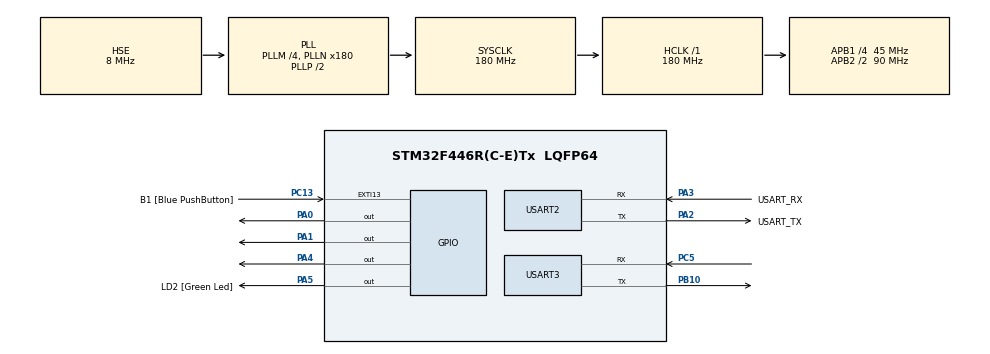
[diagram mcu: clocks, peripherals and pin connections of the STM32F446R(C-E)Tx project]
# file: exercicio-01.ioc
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FREERTOS.CountingSemaphores01=SemCount,2,Dynamic,NULL,2
FREERTOS.Tasks01=Task01,32,128,StartTask01,Default,NULL,Dynamic,NULL,NULL;Task02,24,128,StartTask02,Default,NULL,Dynamic,NULL,NULL;Task03,16,128,StartTask03,Default,NULL,Dynamic,NULL,NULL
FREERTOS.configUSE_NEWLIB_REENTRANT=1
Mcu.Family=STM32F4
Mcu.Name=STM32F446R(C-E)Tx
Mcu.Package=LQFP64
NVIC.PriorityGroup=NVIC_PRIORITYGROUP_4
NVIC.TIM2_IRQn=true\:15\:0\:false\:false\:true\:false\:false\:true\:true
NVIC.TimeBase=TIM2_IRQn
NVIC.TimeBaseIP=TIM2
PA0-WKUP.Signal=GPIO_Output
PA1.Signal=GPIO_Output
PA13.GPIO_Label=TMS
PA13.Mode=Serial_Wire
PA13.Signal=SYS_JTMS-SWDIO
PA14.GPIO_Label=TCK
PA14.Mode=Serial_Wire
PA14.Signal=SYS_JTCK-SWCLK
PA2.GPIO_Label=USART_TX
PA2.Mode=Asynchronous
PA2.Signal=USART2_TX
PA3.GPIO_Label=USART_RX
PA3.Mode=Asynchronous
PA3.Signal=USART2_RX
PA4.Signal=GPIO_Output
PA5.GPIO_Label=LD2 [Green Led]
PA5.Signal=GPIO_Output
PB10.Mode=Asynchronous
PB10.Signal=USART3_TX
PB3.GPIO_Label=SWO
PB3.Signal=SYS_JTDO-SWO
PC13.GPIO_Label=B1 [Blue PushButton]
PC13.GPIO_ModeDefaultEXTI=GPIO_MODE_IT_FALLING
PC13.Signal=GPXTI13
PC14-OSC32_IN.Mode=LSE-External-Oscillator
PC14-OSC32_IN.Signal=RCC_OSC32_IN
PC15-OSC32_OUT.Mode=LSE-External-Oscillator
PC15-OSC32_OUT.Signal=RCC_OSC32_OUT
PC5.Mode=Asynchronous
PC5.Signal=USART3_RX
PH0-OSC_IN.Mode=HSE-External-Oscillator
PH0-OSC_IN.Signal=RCC_OSC_IN
PH1-OSC_OUT.Mode=HSE-External-Oscillator
PH1-OSC_OUT.Signal=RCC_OSC_OUT
ProjectManager.HeapSize=0x200
ProjectManager.StackSize=0x400
ProjectManager.TargetToolchain=STM32CubeIDE
RCC.48MHZClocksFreq_Value=84000000
RCC.AHBFreq_Value=180000000
RCC.APB1CLKDivider=RCC_HCLK_DIV4
RCC.APB1Freq_Value=45000000
RCC.APB1TimFreq_Value=90000000
RCC.APB2CLKDivider=RCC_HCLK_DIV2
RCC.APB2Freq_Value=90000000
RCC.APB2TimFreq_Value=180000000
RCC.CortexFreq_Value=180000000
RCC.FLatency-AdvancedSettings=FLASH_LATENCY_5
RCC.HCLKFreq_Value=180000000
RCC.HSE_VALUE=8000000
RCC.HSI_VALUE=16000000
RCC.PLLM=4
RCC.PLLN=180
RCC.PLLSourceVirtual=RCC_PLLSOURCE_HSE
RCC.SYSCLKFreq_VALUE=180000000
RCC.SYSCLKSource=RCC_SYSCLKSOURCE_PLLCLK
RCC.USBFreq_Value=180000000
RCC.VCOOutputFreq_Value=360000000
USART2.VirtualMode=VM_ASYNC
USART3.VirtualMode=VM_ASYNC
VP_FREERTOS_VS_CMSIS_V2.Mode=CMSIS_V2
VP_SYS_VS_tim2.Mode=TIM2
board=NUCLEO-F446RE

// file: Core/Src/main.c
/* USER CODE BEGIN Header */
/**
 ******************************************************************************
 * @file           : main.c
 * @brief          : Main program body
 ******************************************************************************
 * @attention
 *
 * Copyright (c) 2025 STMicroelectronics.
 * All rights reserved.
 *
 * This software is licensed under terms that can be found in the LICENSE file
 * in the root directory of this software component.
 * If no LICENSE file comes with this software, it is provided AS-IS.
 *
 ******************************************************************************
 */
/* USER CODE END Header */
#include "main.h"
#include "cmsis_os.h"

/* USER CODE BEGIN Includes */
#include <stdio.h>
#include <string.h>
/* USER CODE END Includes */

UART_HandleTypeDef huart2;
UART_HandleTypeDef huart3;

/* Definitions for Task01 */
osThreadId_t Task01Handle;
const osThreadAttr_t Task01_attributes = {
  .name = "Task01",
  .stack_size = 128 * 4,
  .priority = (osPriority_t) osPriorityAboveNormal,
};
/* Definitions for Task02 */
osThreadId_t Task02Handle;
const osThreadAttr_t Task02_attributes = {
  .name = "Task02",
  .stack_size = 128 * 4,
  .priority = (osPriority_t) osPriorityNormal,
};
/* Definitions for Task03 */
osThreadId_t Task03Handle;
const osThreadAttr_t Task03_attributes = {
  .name = "Task03",
  .stack_size = 128 * 4,
  .priority = (osPriority_t) osPriorityBelowNormal,
};
/* Definitions for SemCount */
osSemaphoreId_t SemCountHandle;
const osSemaphoreAttr_t SemCount_attributes = {
  .name = "SemCount"
};
/* USER CODE BEGIN PV */
int val_sem = 0;
char buffer[50];
/* USER CODE END PV */

void SystemClock_Config(void);
static void MX_GPIO_Init(void);
static void MX_USART2_UART_Init(void);
static void MX_USART3_UART_Init(void);
void StartTask01(void *argument);
void StartTask02(void *argument);
void StartTask03(void *argument);

int main(void)
{

  /* MCU Configuration--------------------------------------------------------*/

  /* Reset of all peripherals, Initializes the Flash interface and the Systick. */
  HAL_Init();

  /* Configure the system clock */
  SystemClock_Config();

  /* Initialize all configured peripherals */
  MX_GPIO_Init();
  MX_USART2_UART_Init();
  MX_USART3_UART_Init();

  /* Init scheduler */
  osKernelInitialize();

  /* Create the semaphores(s) */
  /* creation of SemCount */
  SemCountHandle = osSemaphoreNew(2, 2, &SemCount_attributes);

  /* Create the thread(s) */
  /* creation of Task01 */
  Task01Handle = osThreadNew(StartTask01, NULL, &Task01_attributes);

  /* creation of Task02 */
  Task02Handle = osThreadNew(StartTask02, NULL, &Task02_attributes);

  /* creation of Task03 */
  Task03Handle = osThreadNew(StartTask03, NULL, &Task03_attributes);

  /* Start scheduler */
  osKernelStart();

  /* We should never get here as control is now taken by the scheduler */

  /* Infinite loop */
	while (1) {

	}
}

void SystemClock_Config(void)
{
  RCC_OscInitTypeDef RCC_OscInitStruct = {0};
  RCC_ClkInitTypeDef RCC_ClkInitStruct = {0};

  /** Configure the main internal regulator output voltage
  */
  __HAL_RCC_PWR_CLK_ENABLE();
  __HAL_PWR_VOLTAGESCALING_CONFIG(PWR_REGULATOR_VOLTAGE_SCALE1);

  /** Initializes the RCC Oscillators according to the specified parameters
  * in the RCC_OscInitTypeDef structure.
  */
  RCC_OscInitStruct.OscillatorType = RCC_OSCILLATORTYPE_HSE;
  RCC_OscInitStruct.HSEState = RCC_HSE_ON;
  RCC_OscInitStruct.PLL.PLLState = RCC_PLL_ON;
  RCC_OscInitStruct.PLL.PLLSource = RCC_PLLSOURCE_HSE;
  RCC_OscInitStruct.PLL.PLLM = 4;
  RCC_OscInitStruct.PLL.PLLN = 180;
  RCC_OscInitStruct.PLL.PLLP = RCC_PLLP_DIV2;
  RCC_OscInitStruct.PLL.PLLQ = 2;
  RCC_OscInitStruct.PLL.PLLR = 2;
  if (HAL_RCC_OscConfig(&RCC_OscInitStruct) != HAL_OK)
  {
    Error_Handler();
  }

  /** Activate the Over-Drive mode
  */
  if (HAL_PWREx_EnableOverDrive() != HAL_OK)
  {
    Error_Handler();
  }

  /** Initializes the CPU, AHB and APB buses clocks
  */
  RCC_ClkInitStruct.ClockType = RCC_CLOCKTYPE_HCLK|RCC_CLOCKTYPE_SYSCLK
                              |RCC_CLOCKTYPE_PCLK1|RCC_CLOCKTYPE_PCLK2;
  RCC_ClkInitStruct.SYSCLKSource = RCC_SYSCLKSOURCE_PLLCLK;
  RCC_ClkInitStruct.AHBCLKDivider = RCC_SYSCLK_DIV1;
  RCC_ClkInitStruct.APB1CLKDivider = RCC_HCLK_DIV4;
  RCC_ClkInitStruct.APB2CLKDivider = RCC_HCLK_DIV2;

  if (HAL_RCC_ClockConfig(&RCC_ClkInitStruct, FLASH_LATENCY_5) != HAL_OK)
  {
    Error_Handler();
  }
}

static void MX_USART2_UART_Init(void)
{

  huart2.Instance = USART2;
  huart2.Init.BaudRate = 115200;
  huart2.Init.WordLength = UART_WORDLENGTH_8B;
  huart2.Init.StopBits = UART_STOPBITS_1;
  huart2.Init.Parity = UART_PARITY_NONE;
  huart2.Init.Mode = UART_MODE_TX_RX;
  huart2.Init.HwFlowCtl = UART_HWCONTROL_NONE;
  huart2.Init.OverSampling = UART_OVERSAMPLING_16;
  if (HAL_UART_Init(&huart2) != HAL_OK)
  {
    Error_Handler();
  }

}

static void MX_USART3_UART_Init(void)
{

  huart3.Instance = USART3;
  huart3.Init.BaudRate = 115200;
  huart3.Init.WordLength = UART_WORDLENGTH_8B;
  huart3.Init.StopBits = UART_STOPBITS_1;
  huart3.Init.Parity = UART_PARITY_NONE;
  huart3.Init.Mode = UART_MODE_TX_RX;
  huart3.Init.HwFlowCtl = UART_HWCONTROL_NONE;
  huart3.Init.OverSampling = UART_OVERSAMPLING_16;
  if (HAL_UART_Init(&huart3) != HAL_OK)
  {
    Error_Handler();
  }

}

static void MX_GPIO_Init(void)
{
  GPIO_InitTypeDef GPIO_InitStruct = {0};

  /* GPIO Ports Clock Enable */
  __HAL_RCC_GPIOC_CLK_ENABLE();
  __HAL_RCC_GPIOH_CLK_ENABLE();
  __HAL_RCC_GPIOA_CLK_ENABLE();
  __HAL_RCC_GPIOB_CLK_ENABLE();

  /*Configure GPIO pin Output Level */
  HAL_GPIO_WritePin(GPIOA, GPIO_PIN_0|GPIO_PIN_1|GPIO_PIN_4|LD2_Pin, GPIO_PIN_RESET);

  /*Configure GPIO pin : B1_Pin */
  GPIO_InitStruct.Pin = B1_Pin;
  GPIO_InitStruct.Mode = GPIO_MODE_IT_FALLING;
  GPIO_InitStruct.Pull = GPIO_NOPULL;
  HAL_GPIO_Init(B1_GPIO_Port, &GPIO_InitStruct);

  /*Configure GPIO pins : PA0 PA1 PA4 LD2_Pin */
  GPIO_InitStruct.Pin = GPIO_PIN_0|GPIO_PIN_1|GPIO_PIN_4|LD2_Pin;
  GPIO_InitStruct.Mode = GPIO_MODE_OUTPUT_PP;
  GPIO_InitStruct.Pull = GPIO_NOPULL;
  GPIO_InitStruct.Speed = GPIO_SPEED_FREQ_LOW;
  HAL_GPIO_Init(GPIOA, &GPIO_InitStruct);

}

void StartTask01(void *argument)
{
  /* USER CODE BEGIN 5 */
	/* Infinite loop */
	for (;;) {
		osSemaphoreAcquire(SemCountHandle, osWaitForever);

		val_sem = osSemaphoreGetCount(SemCountHandle);

		int len = snprintf(buffer, sizeof(buffer),
				"sem_tsk01: %d\n", val_sem);

		HAL_UART_Transmit(&huart2, (uint8_t*) buffer, len, HAL_MAX_DELAY);

		osDelay(1000);
	}
  /* USER CODE END 5 */
}

void StartTask02(void *argument)
{
  /* USER CODE BEGIN StartTask02 */
	/* Infinite loop */
	for (;;) {
		osSemaphoreAcquire(SemCountHandle, osWaitForever);

		val_sem = osSemaphoreGetCount(SemCountHandle);

		int len = snprintf(buffer, sizeof(buffer),
				"sem_tsk02: %d\n", val_sem);

		HAL_UART_Transmit(&huart2, (uint8_t*) buffer, len, HAL_MAX_DELAY);
		osDelay(1000);
	}
  /* USER CODE END StartTask02 */
}

void StartTask03(void *argument)
{
  /* USER CODE BEGIN StartTask03 */
	/* Infinite loop */
	for (;;) {
		osSemaphoreAcquire(SemCountHandle, osWaitForever);

		val_sem = osSemaphoreGetCount(SemCountHandle);

		int len = snprintf(buffer, sizeof(buffer),
				"sem_tsk03: %d\n", val_sem);

		HAL_UART_Transmit(&huart2, (uint8_t*) buffer, len, HAL_MAX_DELAY);

		osDelay(1000);
	}
  /* USER CODE END StartTask03 */
}

void HAL_TIM_PeriodElapsedCallback(TIM_HandleTypeDef *htim)
{
  if (htim->Instance == TIM2)
  {
    HAL_IncTick();
  }
}

void Error_Handler(void)
{
	__disable_irq();
	while (1) {
	}
}
